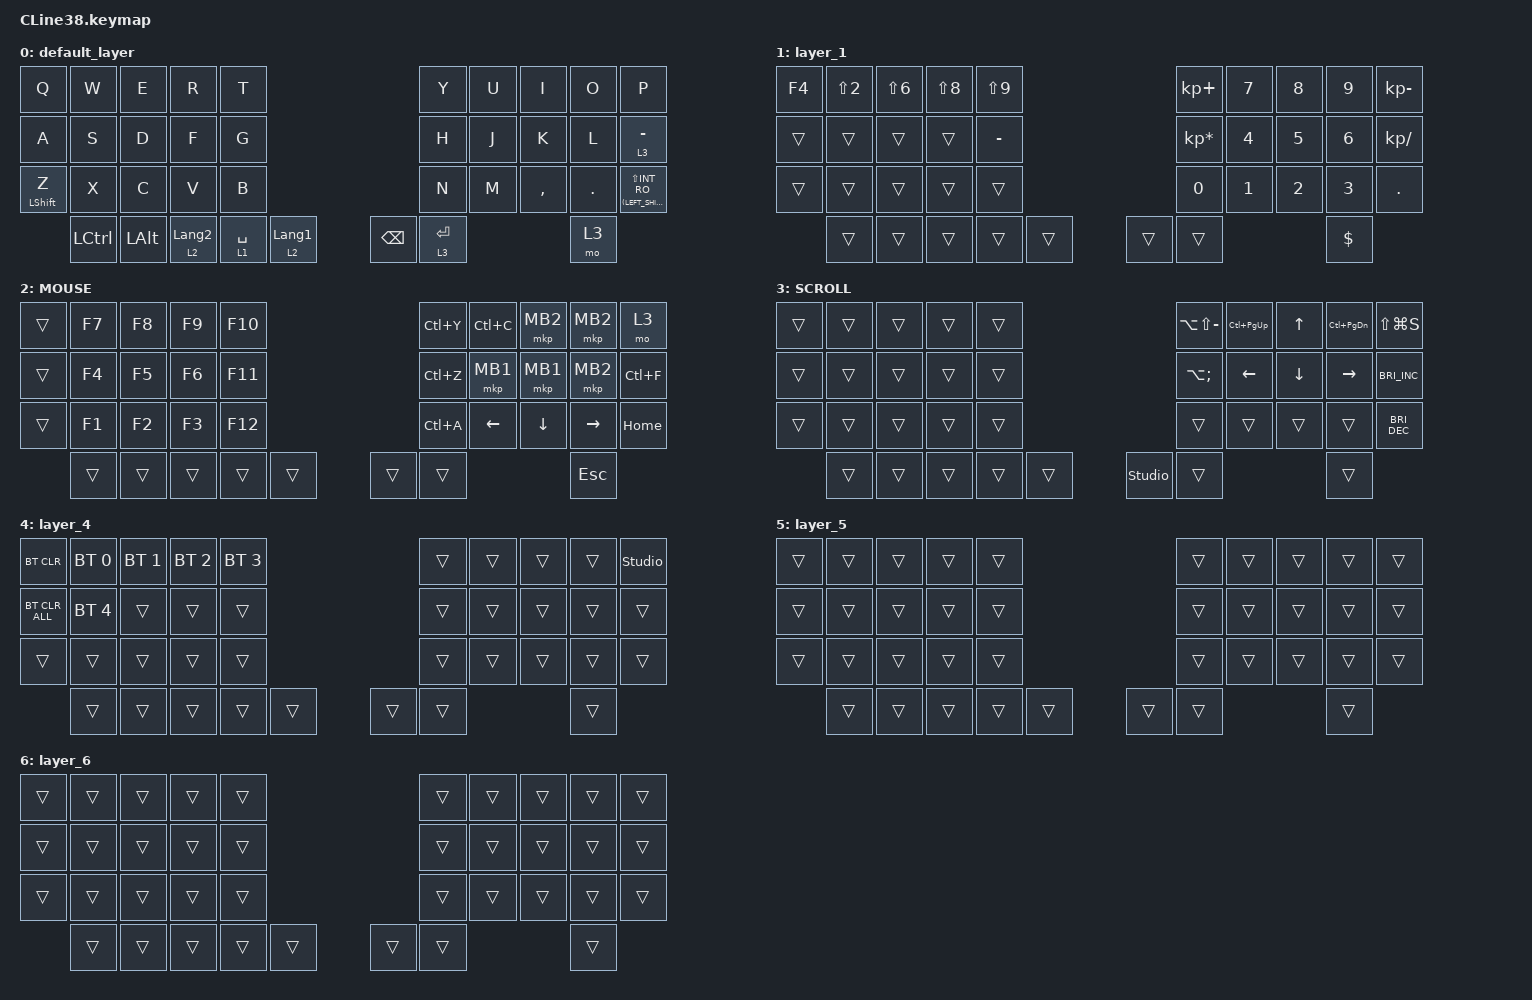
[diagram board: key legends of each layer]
#include <input/processors.dtsi>
#include <dt-bindings/zmk/input_transform.h>
#include <zephyr/dt-bindings/input/input-event-codes.h>
#include <behaviors/runtime_macro.dtsi>
#include <behaviors.dtsi>
#include <dt-bindings/zmk/bt.h>
#include <dt-bindings/zmk/keys.h>
#include <dt-bindings/zmk/pointing.h>

&mt {
    flavor = "balanced";
    quick-tap-ms = <0>;
};

/ {
    combos {
        compatible = "zmk,combos";

        esc {
            bindings = <&kp ESCAPE>;
            key-positions = <1 0>;
        };

        tab {
            bindings = <&kp TAB>;
            key-positions = <10 11>;
        };

        del {
            bindings = <&kp DELETE>;
            key-positions = <8 9>;
        };

        layer4 {
            bindings = <&mo 4>;
            key-positions = <34 35>;
        };
    };

    macros {
        to_layer_0: to_layer_0 {
            compatible = "zmk,behavior-macro-one-param";
            #binding-cells = <1>;
            bindings = <&to 0 &macro_param_1to1 &kp MACRO_PLACEHOLDER>;
            label = "TO_LAYER_0";
        };
    };

    behaviors {
        lt_to_layer_0: lt_to_layer_0 {
            compatible = "zmk,behavior-hold-tap";
            label = "LAYER_TAP_TO_0";
            bindings = <&mo>, <&to_layer_0>;

            #binding-cells = <2>;
            tapping-term-ms = <200>;
        };
    };

    keymap {
        compatible = "zmk,keymap";

        default_layer {
            bindings = <
&kp Q             &kp W             &kp E     &kp R             &kp T                                           &kp Y      &kp U  &kp I      &kp O    &kp P
&kp A             &kp S             &kp D     &kp F             &kp G                                           &kp H      &kp J  &kp K      &kp L    &lt 3 MINUS
&mt LEFT_SHIFT Z  &kp X             &kp C     &kp V             &kp B                                           &kp N      &kp M  &kp COMMA  &kp DOT  &mt (LEFT_SHIFT) LS(INT_RO)
                  &kp LEFT_CONTROL  &kp LALT  &lt 2 LANGUAGE_2  &lt 1 SPACE  &lt 2 LANGUAGE_1    &kp BACKSPACE  &lt 3 RET                    &mo 3
            >;
        };

        layer_1 {
            bindings = <
&kp F4  &kp LS(N2)  &kp LS(N6)  &kp LS(N8)  &kp LS(N9)                    &kp KP_PLUS      &kp N7  &kp N8  &kp N9      &kp KP_MINUS
&trans  &trans      &trans      &trans      &kp MINUS                     &kp KP_MULTIPLY  &kp N4  &kp N5  &kp N6      &kp KP_SLASH
&trans  &trans      &trans      &trans      &trans                        &kp N0           &kp N1  &kp N2  &kp N3      &kp DOT
        &trans      &trans      &trans      &trans      &trans    &trans  &trans                           &kp DOLLAR
            >;
        };

        MOUSE {
            bindings = <
&trans  &kp F7  &kp F8  &kp F9  &kp F10                    &kp LC(Y)  &kp LC(C)       &mkp MB2        &mkp MB2         &mo 3
&trans  &kp F4  &kp F5  &kp F6  &kp F11                    &kp LC(Z)  &mkp MB1        &mkp MB1        &mkp MB2         &kp LC(F)
&trans  &kp F1  &kp F2  &kp F3  &kp F12                    &kp LC(A)  &kp LEFT_ARROW  &kp DOWN_ARROW  &kp RIGHT_ARROW  &kp HOME
        &trans  &trans  &trans  &trans   &trans    &trans  &trans                                     &kp ESC
            >;
        };

        SCROLL {
            bindings = <
&trans  &trans  &trans  &trans  &trans                            &kp LA(LS(MINUS))  &kp LC(PAGE_UP)  &kp UP_ARROW    &kp LC(PAGE_DOWN)  &kp LS(LG(S))
&trans  &trans  &trans  &trans  &trans                            &kp LA(SEMI)       &kp LEFT_ARROW   &kp DOWN_ARROW  &kp RIGHT_ARROW    &kp C_BRIGHTNESS_INC
&trans  &trans  &trans  &trans  &trans                            &trans             &trans           &trans          &trans             &kp C_BRIGHTNESS_DEC
        &trans  &trans  &trans  &trans  &trans    &studio_unlock  &trans                                              &trans
            >;
        };

        layer_4 {
            bindings = <
&bt BT_CLR      &bt BT_SEL 0  &bt BT_SEL 1  &bt BT_SEL 2  &bt BT_SEL 3                    &trans  &trans  &trans  &trans  &studio_unlock
&bt BT_CLR_ALL  &bt BT_SEL 4  &trans        &trans        &trans                          &trans  &trans  &trans  &trans  &trans
&trans          &trans        &trans        &trans        &trans                          &trans  &trans  &trans  &trans  &trans
                &trans        &trans        &trans        &trans        &trans    &trans  &trans                  &trans
            >;
        };

        layer_5 {
            bindings = <
&trans  &trans  &trans  &trans  &trans                    &trans  &trans  &trans  &trans  &trans
&trans  &trans  &trans  &trans  &trans                    &trans  &trans  &trans  &trans  &trans
&trans  &trans  &trans  &trans  &trans                    &trans  &trans  &trans  &trans  &trans
        &trans  &trans  &trans  &trans  &trans    &trans  &trans                  &trans
            >;
        };

        layer_6 {
            bindings = <
&trans  &trans  &trans  &trans  &trans                    &trans  &trans  &trans  &trans  &trans
&trans  &trans  &trans  &trans  &trans                    &trans  &trans  &trans  &trans  &trans
&trans  &trans  &trans  &trans  &trans                    &trans  &trans  &trans  &trans  &trans
        &trans  &trans  &trans  &trans  &trans    &trans  &trans                  &trans
            >;
        };
    };
};
